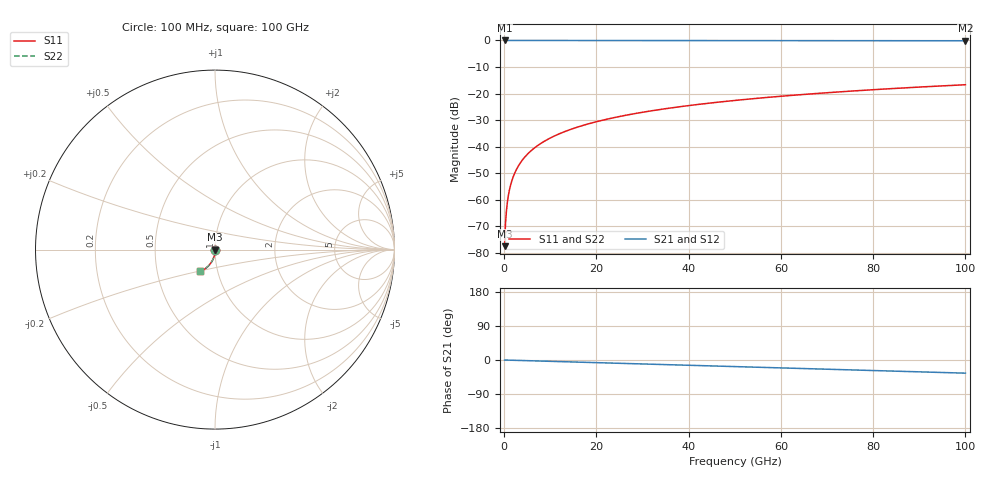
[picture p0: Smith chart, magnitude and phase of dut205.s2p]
! Touchstone file exported from HFSS 2026.1.0
!  File:  C:/ffzhzh/LocalFiles/Ansys_Project_Files/temp_train_TSV_205_1783507553_41296.aedt
!  Generated:  06:47:07 PM Jul  8, 2026
!  Design:  TSV
!  Project:  temp_train_TSV_205_1783507553_41296
! Variables:
!  h_bsmrdl = 2um
!  h_ox = 20um
!  h_rdl = 5um
!  h_sub = 67.8um
!  h_tmrdl = 5um
!  h_tsv = 67.8um
!  h_via = 3um
!  l_bsmrdl = 300um
!  l_sub = 426.66um
!  l_tmrdl = 200um
!  m_sub = 200um
!  pitch = 42.53um
!  r_tsv = 13.33um
!  s_tmrdl = 10um
!  w_bsmrdl = 18um
!  w_sub = 500um
!  w_tmrdl = 12um
!  x_tsv_center1 = 206um
!  x_tsv_center2 = 524um
!  x_tsv_center3 = 736um
!  x_tsv_center4 = 1054um
!  x_tsv_center5 = 1266um
!  x_tsv_center6 = 1584um
# GHz S MA R 50.000000
! Terminal data exported
! Port[1] = TSV1_1_T1
! Port[2] = TSV1_1_T2
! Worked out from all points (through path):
!   1000 points, 100 MHz to 100 GHz, reference 50 ohm
!   highest |S21| = 0.00 dB at 100 MHz (marker M1); lowest = -0.1 dB at 100 GHz (marker M2)
!   group delay of S21, straight-line fit = 964 fs
!   lowest |S11| = -77.4 dB at 100 MHz (marker M3), VSWR 1.00, Z = 50 - j0.011 ohm
!   |S11| at or under -10 dB: start of sweep to end of sweep
!   |S22| runs from -77.4 to -16.7 dB; largest |S21 - S12| = 3.7e-15
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0.1  0.0001343 -54.7  0.9999 -0.0  0.9999 -0.0  0.0001343 -54.7
! Gamma 0 0 0 0
! Port Impedance 50 0 50 0
0.4  0.000491 -74.7  0.9999 -0.1  0.9999 -0.1  0.000491 -74.7
0.7  0.0009029 -78.6  0.9998 -0.3  0.9998 -0.3  0.0009029 -78.6
0.8  0.001044 -79.5  0.9998 -0.3  0.9998 -0.3  0.001044 -79.5
1  0.001328 -80.9  0.9998 -0.4  0.9998 -0.4  0.001328 -80.9
1.3  0.001756 -82.4  0.9998 -0.5  0.9998 -0.5  0.001756 -82.4
1.7  0.00233 -83.7  0.9997 -0.6  0.9997 -0.6  0.00233 -83.7
2.3  0.003195 -85.0  0.9997 -0.8  0.9997 -0.8  0.003195 -85.0
2.9  0.004068 -85.8  0.9996 -1.0  0.9996 -1.0  0.004068 -85.8
3.7  0.00524 -86.7  0.9996 -1.3  0.9996 -1.3  0.00524 -86.7
4.7  0.006714 -87.6  0.9995 -1.7  0.9995 -1.7  0.006714 -87.6
5.8  0.008342 -88.4  0.9994 -2.0  0.9994 -2.0  0.008342 -88.4
8.6  0.0125 -90.1  0.9993 -3.0  0.9993 -3.0  0.0125 -90.1
12.2  0.01786 -91.8  0.9991 -4.3  0.9991 -4.3  0.01786 -91.8
16.8  0.02474 -93.7  0.9988 -5.9  0.9988 -5.9  0.02474 -93.7
24.1  0.03568 -96.7  0.9983 -8.4  0.9983 -8.4  0.03568 -96.6
33.4  0.04958 -100.2  0.9975 -11.6  0.9975 -11.6  0.04959 -100.2
41.2  0.06122 -103.0  0.9967 -14.3  0.9967 -14.3  0.06122 -103.0
50.1  0.07444 -106.2  0.9956 -17.4  0.9956 -17.4  0.07444 -106.2
66.7  0.09894 -112.1  0.9932 -23.2  0.9932 -23.2  0.09894 -112.1
83.4  0.1232 -118.1  0.9902 -29.0  0.9902 -29.0  0.1232 -118.0
100  0.1467 -124.0  0.9866 -34.7  0.9866 -34.7  0.1467 -124.0
